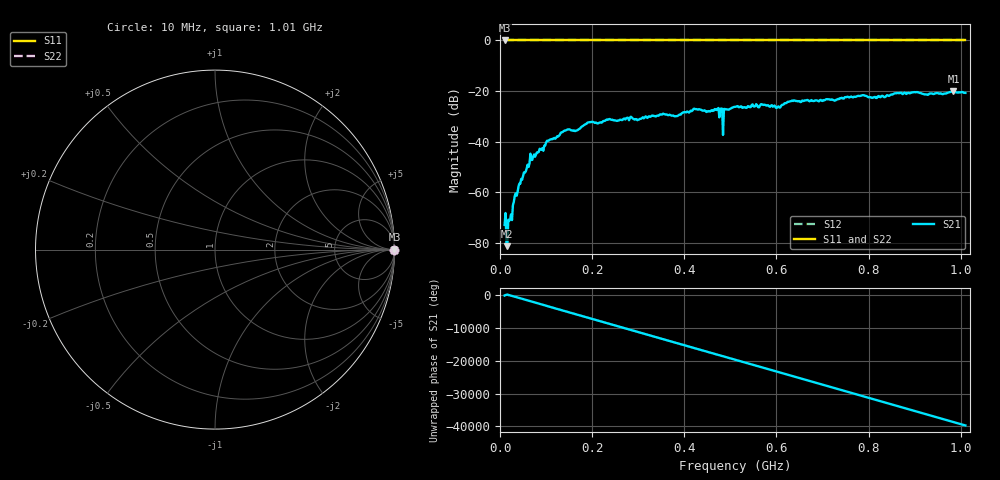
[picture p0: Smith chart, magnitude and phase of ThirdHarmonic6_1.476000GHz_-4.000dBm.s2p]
! 8/16/2025 5:13:32 PM
! C:\ANRITSUVNA\TEMP\TEMP.S2P
! CHANNEL.1
! TR.MEASUREMENT
! RAW.DATA
! RF.CORRECTION.OFF
! AVERAGING.OFF
! IF.BANDWIDTH: 5KHZ
! SWEEPTYPE:  FREQ.SWEEP(Linear)
! Reference Plane Port Info
! PORT:  PORT1  PORT2
! DISTANCE:  0  m  0  m
! TIME:  0  s  0  s
! PHASE.OFFSET:  0  deg.  0  deg.
! LOSS:  0  dB  0  dB
! REF.LOSS:  0  dB  0  dB
! REF.FREQ:  0  Hz  0  Hz
! Power Info
! POWER:  -20  dBm  -20  dBm
! EFF.POWER:  -20  dBm  -20  dBm
! SOURCE.ATTEN:  0  dB  0  dB
! TEST.ATTEN:  0  dB  0  dB
# GHZ S RI R 50.0
! FREQ.GHZ  S11RE  S11IM  S21RE  S21IM  S12RE  S12IM  S22RE  S22IM
!; PortSelection: Port_12
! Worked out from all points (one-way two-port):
!   501 points, 10 MHz to 1.01 GHz, reference 50 ohm
!   highest |S21| = -20.15 dB at 984 MHz (marker M1); lowest = -81.3 dB at 16 MHz (marker M2)
!   lowest |S11| = 0.0 dB at 10 MHz (marker M3)
!   |S11| at or under -10 dB: nowhere
!   |S22| runs from 0.0 to 0.0 dB; largest |S21 - S12| = 1.1
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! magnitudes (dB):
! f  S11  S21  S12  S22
! 10 MHz  0.0  -72.9  0.0  0.0
! 12 MHz  0.0  -68.2  0.0  0.0
! 16 MHz  0.0  -81.3  0.0  0.0
! 18 MHz  0.0  -70.8  0.0  0.0
! 36 MHz  0.0  -61.3  0.0  0.0
! 70 MHz  0.0  -47.2  0.0  0.0
! 136 MHz  0.0  -36.2  0.0  0.0
! 178 MHz  0.0  -34.0  0.0  0.0
! 234 MHz  0.0  -31.3  0.0  0.0
! 344 MHz  0.0  -29.7  0.0  0.0
! 470 MHz  0.0  -27.5  0.0  0.0
! 478 MHz  0.0  -27.3  0.0  0.0
! 480 MHz  0.0  -26.9  0.0  0.0
! 488 MHz  0.0  -27.1  0.0  0.0
! 490 MHz  0.0  -27.2  0.0  0.0
! 510 MHz  0.0  -26.2  0.0  0.0
! 604 MHz  0.0  -26.0  0.0  0.0
! 634 MHz  0.0  -23.8  0.0  0.0
! 678 MHz  0.0  -23.8  0.0  0.0
! 844 MHz  0.0  -21.9  0.0  0.0
! 984 MHz  0.0  -20.1  0.0  0.0
! 1.01 GHz  0.0  -20.7  0.0  0.0
